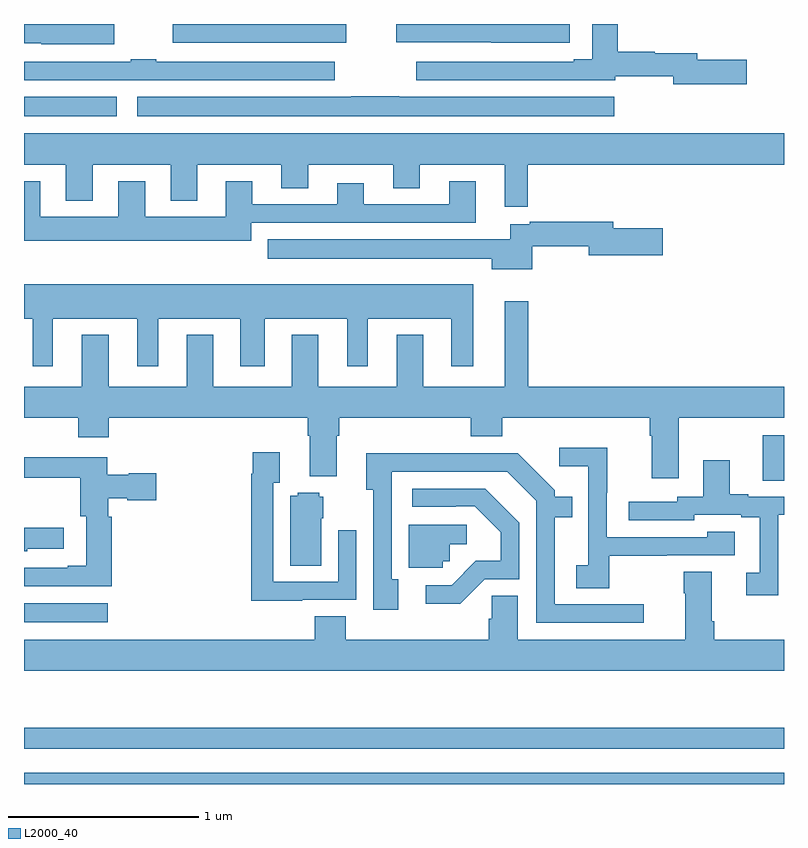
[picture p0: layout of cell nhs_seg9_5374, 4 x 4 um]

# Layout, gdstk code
import gdstk
lib = gdstk.Library(unit=1e-6, precision=1e-09)
def R(c, l, rs):  # rectangles x0, y0, x1, y1
    for r in rs: c.add(gdstk.rectangle(r[:2], r[2:], *l))
def P(c, l, *ps):  # polygons
    for p in ps: c.add(gdstk.Polygon(p, *l))
L2000_40 = (2000, 40)

nhs_seg9_5374 = lib.new_cell('nhs_seg9_5374')
R(nhs_seg9_5374, L2000_40, [(423,1186.5,427,1186.56), (423,1186.686,427,1186.795), (423,1187.351,423.442,1187.452), (426.887,1188.097,427,1188.336), (423,1190.015,423.487,1190.116), (423.783,1190.402,424.696,1190.5)])
P(nhs_seg9_5374, L2000_40, [(423.475,1190.5),(423,1190.5),(423,1190.399),(423.09,1190.399),(423.09,1190.393),(423.475,1190.393)],
  [(425.872,1190.5),(424.959,1190.5),(424.959,1190.403),(425.46,1190.403),(425.46,1190.402),(425.872,1190.402)],
  [(426.805,1190.313),(426.544,1190.313),(426.544,1190.347),(426.32,1190.347),(426.32,1190.354),(426.125,1190.354),(426.125,1190.5),(425.991,1190.5),(425.991,1190.314),(425.894,1190.314),(425.894,1190.301),(425.064,1190.301),(425.064,1190.205),(426.112,1190.205),(426.112,1190.226),(426.416,1190.226),(426.416,1190.183),(426.805,1190.183)],
  [(424.636,1190.301),(423.695,1190.301),(423.695,1190.314),(423.562,1190.314),(423.562,1190.301),(423,1190.301),(423,1190.205),(424.636,1190.205)],
  [(426.106,1190.116),(424.976,1190.116),(424.976,1190.119),(424.723,1190.119),(424.723,1190.116),(423.597,1190.116),(423.597,1190.015),(426.106,1190.015)],
  [(425.652,1189.76),(427,1189.76),(427,1189.924),(423,1189.924),(423,1189.76),(423.221,1189.76),(423.221,1189.571),(423.361,1189.571),(423.361,1189.76),(423.773,1189.76),(423.773,1189.571),(423.913,1189.571),(423.913,1189.76),(424.355,1189.76),(424.355,1189.636),(424.495,1189.636),(424.495,1189.76),(424.943,1189.76),(424.943,1189.636),(425.083,1189.636),(425.083,1189.76),(425.531,1189.76),(425.531,1189.539),(425.652,1189.539)],
  [(424.195,1189.455),(425.377,1189.455),(425.377,1189.672),(425.237,1189.672),(425.237,1189.551),(424.789,1189.551),(424.789,1189.663),(424.649,1189.663),(424.649,1189.551),(424.201,1189.551),(424.201,1189.672),(424.061,1189.672),(424.061,1189.486),(423.637,1189.486),(423.637,1189.672),(423.497,1189.672),(423.497,1189.486),(423.085,1189.486),(423.085,1189.672),(423,1189.672),(423,1189.358),(424.195,1189.358)],
  [(425.676,1189.33),(425.972,1189.33),(425.972,1189.283),(426.361,1189.283),(426.361,1189.425),(426.1,1189.425),(426.1,1189.459),(425.764,1189.459),(425.764,1189.458),(425.662,1189.458),(425.662,1189.446),(425.558,1189.446),(425.558,1189.366),(424.284,1189.366),(424.284,1189.265),(425.462,1189.265),(425.462,1189.208),(425.676,1189.208)],
  [(423.151,1188.95),(423.596,1188.95),(423.596,1188.699),(423.706,1188.699),(423.706,1188.95),(424.139,1188.95),(424.139,1188.699),(424.267,1188.699),(424.267,1188.95),(424.7,1188.95),(424.7,1188.699),(424.81,1188.699),(424.81,1188.95),(425.249,1188.95),(425.249,1188.699),(425.365,1188.699),(425.365,1189.129),(423,1189.129),(423,1188.95),(423.047,1188.95),(423.047,1188.699),(423.151,1188.699)],
  [(426.445,1188.428),(427,1188.428),(427,1188.592),(425.653,1188.592),(425.653,1189.042),(425.531,1189.042),(425.531,1188.592),(425.101,1188.592),(425.101,1188.865),(424.961,1188.865),(424.961,1188.592),(424.549,1188.592),(424.549,1188.865),(424.409,1188.865),(424.409,1188.592),(423.997,1188.592),(423.997,1188.865),(423.857,1188.865),(423.857,1188.592),(423.445,1188.592),(423.445,1188.865),(423.305,1188.865),(423.305,1188.592),(423,1188.592),(423,1188.428),(423.286,1188.428),(423.286,1188.326),(423.446,1188.326),(423.446,1188.428),(424.493,1188.428),(424.493,1188.332),(424.505,1188.332),(424.505,1188.119),(424.645,1188.119),(424.645,1188.332),(424.658,1188.332),(424.658,1188.428),(425.351,1188.428),(425.351,1188.329),(425.516,1188.329),(425.516,1188.428),(426.293,1188.428),(426.293,1188.332),(426.305,1188.332),(426.305,1188.108),(426.445,1188.108)],
  [(426.079,1187.701),(426.383,1187.701),(426.383,1187.703),(426.742,1187.703),(426.742,1187.827),(426.597,1187.827),(426.597,1187.799),(426.066,1187.799),(426.066,1188.032),(426.069,1188.032),(426.069,1188.271),(425.817,1188.271),(425.817,1188.173),(425.97,1188.173),(425.97,1187.652),(425.907,1187.652),(425.907,1187.53),(426.079,1187.53)],
  [(424.465,1187.469),(424.749,1187.469),(424.749,1187.836),(424.653,1187.836),(424.653,1187.565),(424.311,1187.565),(424.311,1188.086),(424.345,1188.086),(424.345,1188.247),(424.203,1188.247),(424.203,1188.134),(424.195,1188.134),(424.195,1187.465),(424.465,1187.465)],
  [(426.262,1187.445),(425.794,1187.445),(425.794,1187.904),(425.885,1187.904),(425.885,1188.013),(425.793,1188.013),(425.793,1188.045),(425.598,1188.24),(425.267,1188.24),(425.267,1188.242),(424.802,1188.242),(424.802,1188.05),(424.839,1188.05),(424.839,1187.418),(424.969,1187.418),(424.969,1187.578),(424.935,1187.578),(424.935,1188.144),(425.544,1188.144),(425.697,1187.991),(425.697,1187.349),(426.262,1187.349)],
  [(423.461,1187.907),(423.443,1187.907),(423.443,1188.005),(423.544,1188.005),(423.544,1187.993),(423.697,1187.993),(423.697,1188.135),(423.552,1188.135),(423.552,1188.127),(423.437,1188.127),(423.437,1188.22),(423,1188.22),(423,1188.113),(423.296,1188.113),(423.296,1187.909),(423.327,1187.909),(423.327,1187.65),(423.23,1187.65),(423.23,1187.637),(423,1187.637),(423,1187.541),(423.461,1187.541)],
  [(426.969,1187.916),(427,1187.916),(427,1188.012),(426.811,1188.012),(426.811,1188.025),(426.715,1188.025),(426.715,1188.205),(426.575,1188.205),(426.575,1188.012),(426.438,1188.012),(426.438,1187.985),(426.183,1187.985),(426.183,1187.889),(426.528,1187.889),(426.528,1187.916),(426.776,1187.916),(426.776,1187.904),(426.872,1187.904),(426.872,1187.613),(426.801,1187.613),(426.801,1187.493),(426.969,1187.493)],
  [(425.424,1187.577),(425.607,1187.577),(425.607,1187.875),(425.428,1188.054),(425.043,1188.054),(425.043,1187.958),(425.273,1187.958),(425.273,1187.961),(425.373,1187.961),(425.51,1187.824),(425.51,1187.674),(425.377,1187.674),(425.25,1187.547),(425.115,1187.547),(425.115,1187.45),(425.296,1187.45)],
  [(424.564,1187.898),(424.576,1187.898),(424.576,1188.012),(424.554,1188.012),(424.554,1188.034),(424.44,1188.034),(424.44,1188.016),(424.4,1188.016),(424.4,1187.65),(424.564,1187.65)],
  [(425.205,1187.673),(425.241,1187.673),(425.241,1187.762),(425.329,1187.762),(425.329,1187.865),(425.024,1187.865),(425.024,1187.637),(425.205,1187.637)],
  [(423.018,1187.738),(423.208,1187.738),(423.208,1187.848),(423,1187.848),(423,1187.726),(423.018,1187.726)],
  [(427,1187.26),(426.632,1187.26),(426.632,1187.356),(426.619,1187.356),(426.619,1187.617),(426.472,1187.617),(426.472,1187.504),(426.479,1187.504),(426.479,1187.26),(425.599,1187.26),(425.599,1187.492),(425.461,1187.492),(425.461,1187.37),(425.447,1187.37),(425.447,1187.26),(424.694,1187.26),(424.694,1187.384),(424.529,1187.384),(424.529,1187.26),(423,1187.26),(423,1187.096),(427,1187.096)])

lib.write_gds('nhs_seg9_5374.gds')
